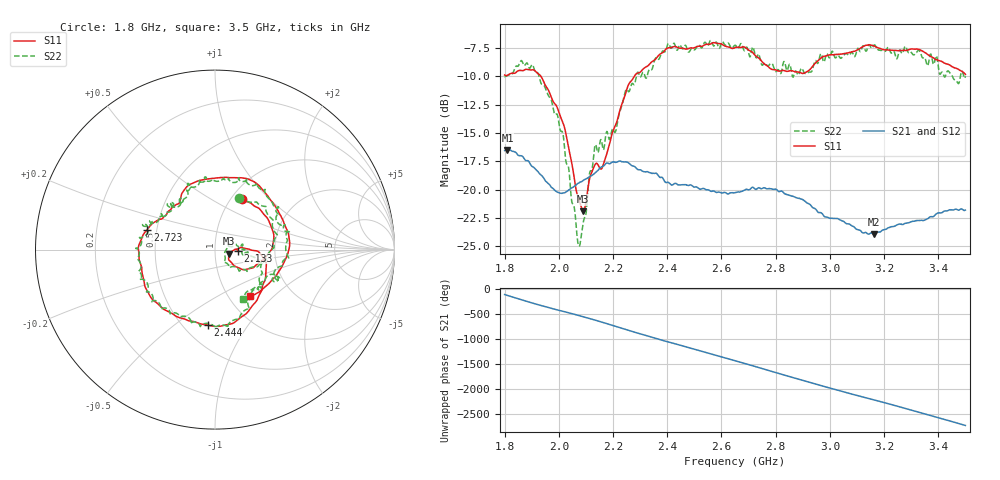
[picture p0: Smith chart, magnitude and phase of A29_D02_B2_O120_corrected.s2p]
! Created with skrf 1.9.0 (http://scikit-rf.org).
# Hz S RI R 50.0
!freq ReS11 ImS11 ReS21 ImS21 ReS12 ImS12 ReS22 ImS22
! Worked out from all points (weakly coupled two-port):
!   1601 points, 1.8 GHz to 3.5 GHz, reference 50 ohm
!   highest |S21| = -16.48 dB at 1.811 GHz (marker M1); lowest = -23.9 dB at 3.163 GHz (marker M2)
!   lowest |S11| = -21.9 dB at 2.09 GHz (marker M3), VSWR 1.17, Z = 58.3 - j2.65 ohm
!   |S11| at or under -10 dB: 1.935 GHz to 2.278 GHz (343.5 MHz wide, 16.3 % of centre)
!   |S22| runs from -25.0 to -6.8 dB; largest |S21 - S12| = 0.0025
!   S11 on the Smith chart (normalised r, x): 1.8 GHz: 1.12, +0.71; 2.133 GHz: 1.29, -0.01; 2.444 GHz: 0.65, -0.67; 2.723 GHz: 0.44, +0.12; 3.5 GHz: 1.25, -0.72
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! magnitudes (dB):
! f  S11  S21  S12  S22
! 1.8 GHz  -9.9  -16.5  -16.5  -10.0
! 1.811 GHz  -9.9  -16.5  -16.5  -9.9
! 1.902 GHz  -9.4  -17.9  -17.9  -9.0
! 1.967 GHz  -11.5  -19.6  -19.7  -11.9
! 2.015 GHz  -14.0  -20.3  -20.3  -15.0
! 2.071 GHz  -20.6  -19.4  -19.5  -24.7
! 2.084 GHz  -21.6  -19.3  -19.2  -23.9
! 2.09 GHz  -21.9  -19.2  -19.2  -22.9
! 2.133 GHz  -17.8  -18.5  -18.5  -16.2
! 2.163 GHz  -17.8  -17.9  -17.9  -16.4
! 2.21 GHz  -14.2  -17.6  -17.5  -14.8
! 2.26 GHz  -10.6  -17.7  -17.7  -11.3
! 2.367 GHz  -8.2  -18.8  -18.7  -8.5
! 2.444 GHz  -7.5  -19.6  -19.6  -7.3
! 2.65 GHz  -7.5  -20.3  -20.2  -7.2
! 2.723 GHz  -8.1  -19.9  -19.9  -8.0
! 2.812 GHz  -9.5  -20.2  -20.0  -9.4
! 2.934 GHz  -9.2  -21.5  -21.5  -9.5
! 3.163 GHz  -7.3  -23.9  -23.9  -7.2
! 3.217 GHz  -7.7  -23.3  -23.3  -7.5
! 3.328 GHz  -7.6  -22.7  -22.7  -7.7
! 3.5 GHz  -9.8  -21.8  -21.8  -10.0
